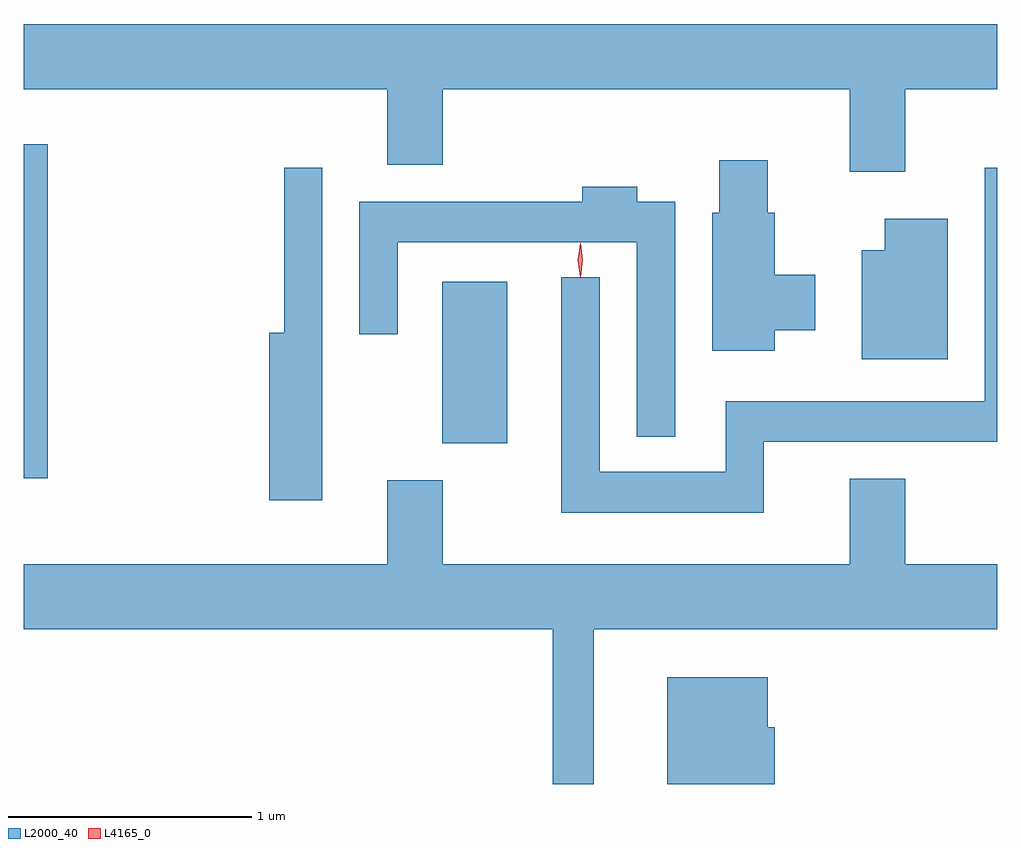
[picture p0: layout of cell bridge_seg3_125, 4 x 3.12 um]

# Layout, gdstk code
import gdstk
lib = gdstk.Library(unit=1e-6, precision=1e-09)
def R(c, l, rs):  # rectangles x0, y0, x1, y1
    for r in rs: c.add(gdstk.rectangle(r[:2], r[2:], *l))
def P(c, l, *ps):  # polygons
    for p in ps: c.add(gdstk.Polygon(p, *l))
L2000_40 = (2000, 40)
L4165_0 = (4165, 0)

bridge_seg3_125 = lib.new_cell('bridge_seg3_125')
R(bridge_seg3_125, L2000_40, [(887.687,1230.976,887.784,1232.349), (889.406,1231.121,889.674,1231.784)])
P(bridge_seg3_125, L2000_40, [(891.309,1232.576),(891.687,1232.576),(891.687,1232.844),(887.687,1232.844),(887.687,1232.576),(889.181,1232.576),(889.181,1232.266),(889.409,1232.266),(889.409,1232.576),(891.081,1232.576),(891.081,1232.236),(891.309,1232.236)],
  [(890.774,1231.586),(890.939,1231.586),(890.939,1231.814),(890.774,1231.814),(890.774,1232.069),(890.744,1232.069),(890.744,1232.284),(890.546,1232.284),(890.546,1232.069),(890.516,1232.069),(890.516,1231.501),(890.774,1231.501)],
  [(890.729,1231.126),(891.687,1231.126),(891.687,1232.253),(891.636,1232.253),(891.636,1231.294),(890.571,1231.294),(890.571,1231.004),(890.054,1231.004),(890.054,1231.803),(889.896,1231.803),(889.896,1230.836),(890.729,1230.836)],
  [(888.914,1232.253),(888.756,1232.253),(888.756,1231.574),(888.696,1231.574),(888.696,1230.886),(888.914,1230.886)],
  [(890.364,1232.114),(890.209,1232.114),(890.209,1232.174),(889.981,1232.174),(889.981,1232.114),(889.066,1232.114),(889.066,1231.568),(889.224,1231.568),(889.224,1231.946),(890.206,1231.946),(890.206,1231.148),(890.364,1231.148)],
  [(891.484,1232.044),(891.226,1232.044),(891.226,1231.914),(891.131,1231.914),(891.131,1231.466),(891.484,1231.466)],
  [(890.029,1230.356),(891.687,1230.356),(891.687,1230.624),(891.309,1230.624),(891.309,1230.974),(891.081,1230.974),(891.081,1230.624),(889.409,1230.624),(889.409,1230.969),(889.181,1230.969),(889.181,1230.624),(887.687,1230.624),(887.687,1230.356),(889.861,1230.356),(889.861,1229.72),(890.029,1229.72)],
  [(890.774,1229.954),(890.744,1229.954),(890.744,1230.159),(890.331,1230.159),(890.331,1229.72),(890.774,1229.72)])
P(bridge_seg3_125, L4165_0, [(889.974,1231.807),(889.974,1231.808),(889.964,1231.874),(889.973,1231.94),(889.974,1231.94),(889.974,1231.94),(889.984,1231.874),(889.974,1231.808)],
  [(889.974,1231.804),(889.974,1231.804),(889.964,1231.873),(889.974,1231.942),(889.974,1231.943),(889.975,1231.942),(889.984,1231.873),(889.975,1231.804)])

lib.write_gds('bridge_seg3_125.gds')
